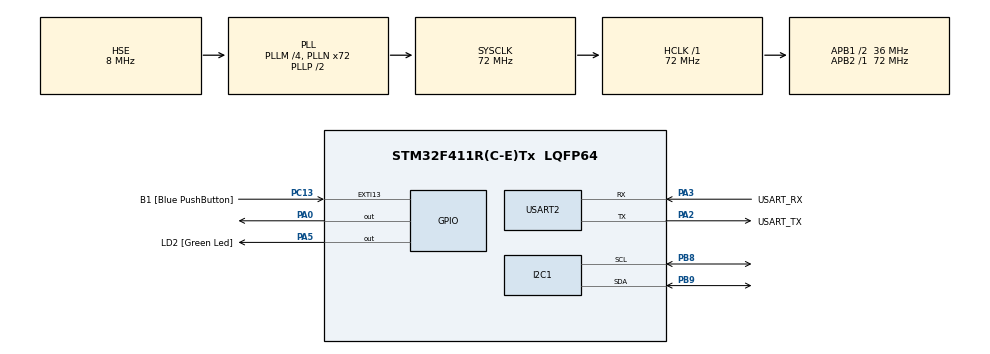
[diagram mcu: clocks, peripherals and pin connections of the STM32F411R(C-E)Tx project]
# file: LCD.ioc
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Mcu.Family=STM32F4
Mcu.Name=STM32F411R(C-E)Tx
Mcu.Package=LQFP64
NVIC.PriorityGroup=NVIC_PRIORITYGROUP_0
NVIC.USART2_IRQn=true\:0\:0\:false\:false\:true\:true\:true\:true
PA0-WKUP.PinState=GPIO_PIN_RESET
PA0-WKUP.Signal=GPIO_Output
PA13.GPIO_Label=TMS
PA13.Mode=Serial_Wire
PA13.Signal=SYS_JTMS-SWDIO
PA14.GPIO_Label=TCK
PA14.Mode=Serial_Wire
PA14.Signal=SYS_JTCK-SWCLK
PA2.GPIO_Label=USART_TX
PA2.Mode=Asynchronous
PA2.Signal=USART2_TX
PA3.GPIO_Label=USART_RX
PA3.Mode=Asynchronous
PA3.Signal=USART2_RX
PA5.GPIO_Label=LD2 [Green Led]
PA5.Signal=GPIO_Output
PB3.GPIO_Label=SWO
PB3.Signal=SYS_JTDO-SWO
PB8.Mode=I2C
PB8.Signal=I2C1_SCL
PB9.Mode=I2C
PB9.Signal=I2C1_SDA
PC13-ANTI_TAMP.GPIO_Label=B1 [Blue PushButton]
PC13-ANTI_TAMP.GPIO_ModeDefaultEXTI=GPIO_MODE_IT_FALLING
PC13-ANTI_TAMP.Signal=GPXTI13
PC14-OSC32_IN.Signal=RCC_OSC32_IN
PC15-OSC32_OUT.Signal=RCC_OSC32_OUT
PH0\ -\ OSC_IN.Mode=HSE-External-Oscillator
PH0\ -\ OSC_IN.Signal=RCC_OSC_IN
PH1\ -\ OSC_OUT.Mode=HSE-External-Oscillator
PH1\ -\ OSC_OUT.Signal=RCC_OSC_OUT
ProjectManager.HeapSize=0x200
ProjectManager.StackSize=0x400
ProjectManager.TargetToolchain=STM32CubeIDE
RCC.48MHZClocksFreq_Value=36000000
RCC.AHBFreq_Value=72000000
RCC.APB1CLKDivider=RCC_HCLK_DIV2
RCC.APB1Freq_Value=36000000
RCC.APB1TimFreq_Value=72000000
RCC.APB2Freq_Value=72000000
RCC.APB2TimFreq_Value=72000000
RCC.CortexFreq_Value=72000000
RCC.FLatency-AdvancedSettings=FLASH_LATENCY_2
RCC.HCLKFreq_Value=72000000
RCC.HSE_VALUE=8000000
RCC.HSI_VALUE=16000000
RCC.LSE_VALUE=32768
RCC.PLLM=4
RCC.PLLN=72
RCC.PLLSourceVirtual=RCC_PLLSOURCE_HSE
RCC.SYSCLKFreq_VALUE=72000000
RCC.SYSCLKSource=RCC_SYSCLKSOURCE_PLLCLK
RCC.VCOOutputFreq_Value=144000000
USART2.VirtualMode=VM_ASYNC
board=NUCLEO-F411RE

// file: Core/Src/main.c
/* USER CODE BEGIN Header */
/**
  ******************************************************************************
  * @file           : main.c
  * @brief          : Main program body
  ******************************************************************************
  * @attention
  *
  * Copyright (c) 2024 STMicroelectronics.
  * All rights reserved.
  *
  * This software is licensed under terms that can be found in the LICENSE file
  * in the root directory of this software component.
  * If no LICENSE file comes with this software, it is provided AS-IS.
  *
  ******************************************************************************
  */
/* USER CODE END Header */
#include "main.h"
#include "stdio.h"
#include "stdint.h"
#include <string.h>
#include "DHT.h"
#include <stdio.h>

/* USER CODE BEGIN Includes */
#include "liquidcrystal_i2c.h"

/* USER CODE END Includes */

I2C_HandleTypeDef hi2c1;

UART_HandleTypeDef huart2;

void SystemClock_Config(void);
static void MX_GPIO_Init(void);
static void MX_USART2_UART_Init(void);
static void MX_I2C1_Init(void);

/* USER CODE BEGIN 0 */
#ifdef __GNUC__
	#define PUTCHAR_PROTOTYPE int __io_putchar(int ch)
#else
	#define PUTCHAR_PROTOTYPE int fputc(int ch,FILE *f)
#endif
PUTCHAR_PROTOTYPE
{
	HAL_UART_Transmit(&huart2,(uint8_t *)&ch,1,0xFFFF);
	return ch;
}

void Read_DataDHT(void);

DHT_DataTypedef DHT11_Data;
int Temperature,Humidity,Indice_chaleur;
long last = 0;
int i = 0;

/* USER CODE END 0 */

int main(void)
{

  /* MCU Configuration--------------------------------------------------------*/

  /* Reset of all peripherals, Initializes the Flash interface and the Systick. */
  HAL_Init();

  /* Configure the system clock */
  SystemClock_Config();

  /* Initialize all configured peripherals */
  MX_GPIO_Init();
  MX_USART2_UART_Init();
  MX_I2C1_Init();
  /* USER CODE BEGIN 2 */

  DHT_GetData(&DHT11_Data);
  Temperature = DHT11_Data.Temperature;
  Humidity = DHT11_Data.Humidity;
  Indice_chaleur = -2.7+1.04*Temperature + 0.2*Humidity;

  HD44780_Init(2);
  HD44780_Clear();

  /* USER CODE END 2 */

  /* Infinite loop */
  /* USER CODE BEGIN WHILE */
  while (1)
  {

	    HD44780_SetCursor(0,0);
	    HD44780_PrintStr("Temperature:");

	    char Temperatur[5];
	    sprintf(Temperatur, "%d", Temperature);
	    HD44780_SetCursor(12,0);
	    HD44780_PrintStr(Temperatur);
	    HD44780_SetCursor(14,0);
	    HD44780_PrintStr("C");

	    HD44780_SetCursor(0,1);
	    HD44780_PrintStr("Humidite");

	    char Humidit[20];
	    sprintf(Humidit, ":%d", Humidity);
	    HD44780_SetCursor(11,1);
	    HD44780_PrintStr(Humidit);
	    HD44780_SetCursor(14,1);
	    HD44780_PrintStr("%");
	    HAL_Delay(2000);

	    HD44780_Clear();

	    HD44780_SetCursor(0,0);
	    HD44780_PrintStr("Indice Chaleur :");

	    char Indice[20];
	    sprintf(Indice, "%d", Indice_chaleur);
	    HD44780_SetCursor(7,1);
	    HD44780_PrintStr(Indice);
	    HD44780_SetCursor(9,1);
	    HD44780_PrintStr("%");

	    HAL_Delay(2000);
	    HD44780_Clear();

    /* USER CODE END WHILE */

  }
}

void SystemClock_Config(void)
{
  RCC_OscInitTypeDef RCC_OscInitStruct = {0};
  RCC_ClkInitTypeDef RCC_ClkInitStruct = {0};

  /** Configure the main internal regulator output voltage
  */
  __HAL_RCC_PWR_CLK_ENABLE();
  __HAL_PWR_VOLTAGESCALING_CONFIG(PWR_REGULATOR_VOLTAGE_SCALE1);

  /** Initializes the RCC Oscillators according to the specified parameters
  * in the RCC_OscInitTypeDef structure.
  */
  RCC_OscInitStruct.OscillatorType = RCC_OSCILLATORTYPE_HSE;
  RCC_OscInitStruct.HSEState = RCC_HSE_ON;
  RCC_OscInitStruct.PLL.PLLState = RCC_PLL_ON;
  RCC_OscInitStruct.PLL.PLLSource = RCC_PLLSOURCE_HSE;
  RCC_OscInitStruct.PLL.PLLM = 4;
  RCC_OscInitStruct.PLL.PLLN = 72;
  RCC_OscInitStruct.PLL.PLLP = RCC_PLLP_DIV2;
  RCC_OscInitStruct.PLL.PLLQ = 4;
  if (HAL_RCC_OscConfig(&RCC_OscInitStruct) != HAL_OK)
  {
    Error_Handler();
  }

  /** Initializes the CPU, AHB and APB buses clocks
  */
  RCC_ClkInitStruct.ClockType = RCC_CLOCKTYPE_HCLK|RCC_CLOCKTYPE_SYSCLK
                              |RCC_CLOCKTYPE_PCLK1|RCC_CLOCKTYPE_PCLK2;
  RCC_ClkInitStruct.SYSCLKSource = RCC_SYSCLKSOURCE_PLLCLK;
  RCC_ClkInitStruct.AHBCLKDivider = RCC_SYSCLK_DIV1;
  RCC_ClkInitStruct.APB1CLKDivider = RCC_HCLK_DIV2;
  RCC_ClkInitStruct.APB2CLKDivider = RCC_HCLK_DIV1;

  if (HAL_RCC_ClockConfig(&RCC_ClkInitStruct, FLASH_LATENCY_2) != HAL_OK)
  {
    Error_Handler();
  }
}

static void MX_I2C1_Init(void)
{

  hi2c1.Instance = I2C1;
  hi2c1.Init.ClockSpeed = 100000;
  hi2c1.Init.DutyCycle = I2C_DUTYCYCLE_2;
  hi2c1.Init.OwnAddress1 = 0;
  hi2c1.Init.AddressingMode = I2C_ADDRESSINGMODE_7BIT;
  hi2c1.Init.DualAddressMode = I2C_DUALADDRESS_DISABLE;
  hi2c1.Init.OwnAddress2 = 0;
  hi2c1.Init.GeneralCallMode = I2C_GENERALCALL_DISABLE;
  hi2c1.Init.NoStretchMode = I2C_NOSTRETCH_DISABLE;
  if (HAL_I2C_Init(&hi2c1) != HAL_OK)
  {
    Error_Handler();
  }

}

static void MX_USART2_UART_Init(void)
{

  huart2.Instance = USART2;
  huart2.Init.BaudRate = 115200;
  huart2.Init.WordLength = UART_WORDLENGTH_8B;
  huart2.Init.StopBits = UART_STOPBITS_1;
  huart2.Init.Parity = UART_PARITY_NONE;
  huart2.Init.Mode = UART_MODE_TX_RX;
  huart2.Init.HwFlowCtl = UART_HWCONTROL_NONE;
  huart2.Init.OverSampling = UART_OVERSAMPLING_16;
  if (HAL_UART_Init(&huart2) != HAL_OK)
  {
    Error_Handler();
  }

}

static void MX_GPIO_Init(void)
{
  GPIO_InitTypeDef GPIO_InitStruct = {0};

  /* GPIO Ports Clock Enable */
  __HAL_RCC_GPIOC_CLK_ENABLE();
  __HAL_RCC_GPIOH_CLK_ENABLE();
  __HAL_RCC_GPIOA_CLK_ENABLE();
  __HAL_RCC_GPIOB_CLK_ENABLE();

  /*Configure GPIO pin Output Level */
  HAL_GPIO_WritePin(GPIOA, GPIO_PIN_0|LD2_Pin, GPIO_PIN_RESET);

  /*Configure GPIO pin : B1_Pin */
  GPIO_InitStruct.Pin = B1_Pin;
  GPIO_InitStruct.Mode = GPIO_MODE_IT_FALLING;
  GPIO_InitStruct.Pull = GPIO_NOPULL;
  HAL_GPIO_Init(B1_GPIO_Port, &GPIO_InitStruct);

  /*Configure GPIO pins : PA0 LD2_Pin */
  GPIO_InitStruct.Pin = GPIO_PIN_0|LD2_Pin;
  GPIO_InitStruct.Mode = GPIO_MODE_OUTPUT_PP;
  GPIO_InitStruct.Pull = GPIO_NOPULL;
  GPIO_InitStruct.Speed = GPIO_SPEED_FREQ_LOW;
  HAL_GPIO_Init(GPIOA, &GPIO_InitStruct);

}

void Error_Handler(void)
{
  __disable_irq();
  while (1)
  {
  }
}
